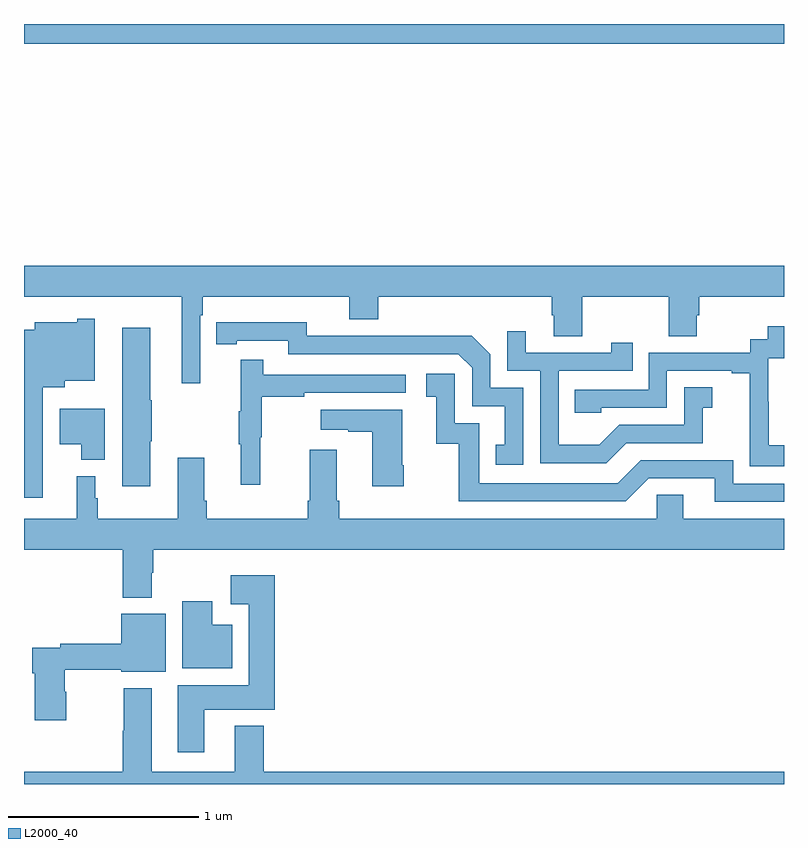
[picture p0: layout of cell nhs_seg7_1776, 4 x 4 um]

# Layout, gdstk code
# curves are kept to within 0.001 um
import gdstk
lib = gdstk.Library(unit=1e-6, precision=1e-09)
def R(c, l, rs):  # rectangles x0, y0, x1, y1
    for r in rs: c.add(gdstk.rectangle(r[:2], r[2:], *l))
def P(c, l, *ps):  # polygons
    for p in ps: c.add(gdstk.Polygon(p, *l))
L2000_40 = (2000, 40)

nhs_seg7_1776 = lib.new_cell('nhs_seg7_1776')
R(nhs_seg7_1776, L2000_40, [(231,1053.896,235,1054)])
P(nhs_seg7_1776, L2000_40, [(231.927,1052.468),(231.941,1052.468),(231.941,1052.564),(232.712,1052.564),(232.712,1052.447),(232.865,1052.447),(232.865,1052.564),(233.777,1052.564),(233.777,1052.466),(233.789,1052.466),(233.789,1052.356),(233.937,1052.356),(233.937,1052.564),(234.394,1052.564),(234.394,1052.356),(234.541,1052.356),(234.541,1052.466),(234.554,1052.466),(234.554,1052.564),(235,1052.564),(235,1052.728),(231,1052.728),(231,1052.564),(231.83,1052.564),(231.83,1052.109),(231.927,1052.109)],
  [(231.099,1052.087),(231.214,1052.087),(231.214,1052.123),(231.373,1052.123),(231.373,1052.449),(231.279,1052.449),(231.279,1052.431),(231.056,1052.431),(231.056,1052.392),(231.002,1052.392),(231.002,1051.506),(231.099,1051.506)],
  [(233.628,1052.085),(233.454,1052.085),(233.454,1052.262),(233.356,1052.36),(232.948,1052.36),(232.948,1052.358),(232.488,1052.358),(232.488,1052.431),(232.012,1052.43),(232.012,1052.314),(232.12,1052.314),(232.12,1052.334),(232.392,1052.334),(232.392,1052.262),(233.286,1052.262),(233.358,1052.19),(233.358,1051.989),(233.531,1051.989),(233.531,1051.785),(233.482,1051.785),(233.482,1051.68),(233.628,1051.68)],
  [(235,1051.783),(234.92,1051.783),(234.92,1052.012),(234.918,1052.012),(234.918,1052.241),(235,1052.241),(235,1052.41),(234.915,1052.41),(234.915,1052.34),(234.822,1052.34),(234.822,1052.271),(234.288,1052.271),(234.288,1052.076),(233.899,1052.076),(233.899,1051.953),(234.039,1051.953),(234.039,1051.98),(234.384,1051.98),(234.384,1052.175),(234.725,1052.175),(234.725,1052.163),(234.821,1052.163),(234.821,1051.879),(234.82,1051.879),(234.82,1051.673),(235,1051.673)],
  [(231.664,1051.804),(231.672,1051.804),(231.672,1052.021),(231.664,1052.021),(231.664,1052.401),(231.518,1052.401),(231.518,1051.566),(231.664,1051.566)],
  [(234.169,1051.794),(234.573,1051.794),(234.573,1051.979),(234.622,1051.979),(234.622,1052.089),(234.474,1052.089),(234.474,1051.89),(234.132,1051.89),(234.028,1051.786),(233.814,1051.786),(233.814,1052.175),(234.203,1052.175),(234.203,1052.323),(234.092,1052.323),(234.092,1052.271),(233.641,1052.271),(233.641,1052.383),(233.544,1052.383),(233.544,1052.175),(233.718,1052.175),(233.718,1051.689),(234.064,1051.689)],
  [(232.244,1051.824),(232.252,1051.824),(232.252,1052.038),(232.475,1052.038),(232.475,1052.058),(233.008,1052.058),(233.008,1052.154),(232.259,1052.154),(232.259,1052.233),(232.142,1052.233),(232.142,1051.961),(232.131,1051.961),(232.131,1051.787),(232.142,1051.787),(232.142,1051.575),(232.244,1051.575)],
  [(235,1051.581),(234.732,1051.581),(234.732,1051.704),(234.246,1051.704),(234.126,1051.584),(233.397,1051.584),(233.397,1051.899),(233.268,1051.899),(233.268,1052.158),(233.118,1052.158),(233.118,1052.037),(233.171,1052.037),(233.171,1051.791),(233.289,1051.791),(233.289,1051.488),(234.168,1051.488),(234.288,1051.608),(234.635,1051.608),(234.635,1051.485),(235,1051.485)],
  [(231.424,1051.975),(231.188,1051.975),(231.188,1051.787),(231.302,1051.787),(231.302,1051.706),(231.424,1051.706)],
  [(232.998,1051.678),(232.99,1051.678),(232.99,1051.969),(232.563,1051.969),(232.563,1051.865),(232.706,1051.865),(232.706,1051.855),(232.832,1051.855),(232.832,1051.566),(232.998,1051.566)],
  [(231.673,1051.112),(231.681,1051.112),(231.681,1051.232),(235,1051.232),(235,1051.396),(234.469,1051.396),(234.469,1051.523),(234.33,1051.523),(234.33,1051.396),(232.658,1051.396),(232.658,1051.492),(232.645,1051.492),(232.645,1051.759),(232.505,1051.759),(232.505,1051.492),(232.493,1051.492),(232.493,1051.396),(231.962,1051.396),(231.962,1051.492),(231.949,1051.492),(231.949,1051.717),(231.809,1051.717),(231.809,1051.396),(231.388,1051.396),(231.388,1051.503),(231.376,1051.503),(231.376,1051.621),(231.278,1051.621),(231.278,1051.396),(231,1051.396),(231,1051.232),(231.521,1051.232),(231.521,1050.98),(231.673,1050.98)],
  [(231.949,1050.392),(232.319,1050.392),(232.319,1051.099),(232.089,1051.099),(232.089,1050.947),(232.184,1050.947),(232.184,1050.52),(231.809,1050.52),(231.809,1050.168),(231.949,1050.168)],
  [(232.096,1050.838),(231.991,1050.838),(231.991,1050.961),(231.833,1050.961),(231.833,1050.608),(232.096,1050.608)],
  [(231.222,1050.486),(231.214,1050.486),(231.214,1050.601),(231.512,1050.601),(231.512,1050.59),(231.745,1050.59),(231.745,1050.895),(231.512,1050.895),(231.512,1050.737),(231.19,1050.737),(231.19,1050.717),(231.044,1050.717),(231.044,1050.584),(231.056,1050.584),(231.056,1050.336),(231.222,1050.336)],
  [(231.526,1050.505),(231.526,1050.279),(231.521,1050.279),(231.521,1050.064),(231,1050.064),(231,1050),(235,1050),(235,1050.064),(232.262,1050.064),(232.262,1050.307),(232.109,1050.307),(232.109,1050.064),(231.673,1050.064),(231.673,1050.505)])

lib.write_gds('nhs_seg7_1776.gds')
